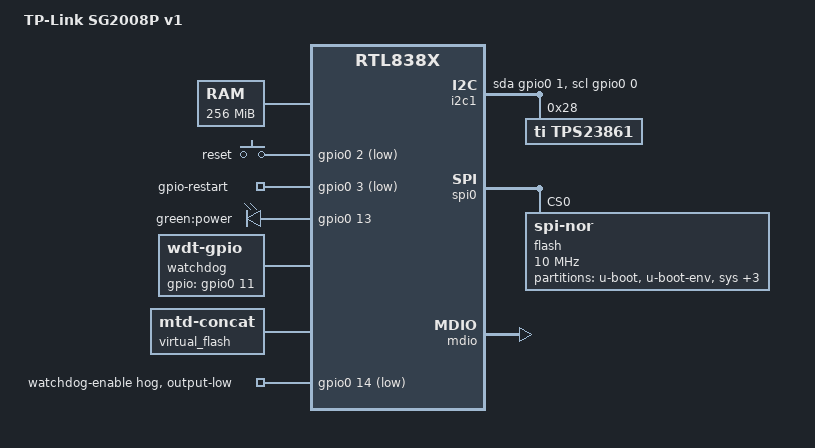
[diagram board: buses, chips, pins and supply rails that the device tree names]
// SPDX-License-Identifier: GPL-2.0-or-later

#include "rtl838x.dtsi"

#include <dt-bindings/input/input.h>
#include <dt-bindings/gpio/gpio.h>

/ {
	compatible = "tplink,sg2008p-v1", "realtek,rtl838x-soc";
	model = "TP-Link SG2008P v1";

	aliases {
		led-boot = &led_power;
		led-failsafe = &led_power;
		led-running = &led_power;
		led-upgrade = &led_power;
	};

	memory@0 {
		device_type = "memory";
		reg = <0x0 0x10000000>;
	};

	keys {
		compatible = "gpio-keys";

		reset {
			label = "reset";
			gpios = <&gpio0 2 GPIO_ACTIVE_LOW>;
			linux,code = <KEY_RESTART>;
		};
	};

	gpio-restart {
		compatible = "gpio-restart";
		gpios = <&gpio0 3 GPIO_ACTIVE_LOW>;
	};

	leds {
		compatible = "gpio-leds";

		led_power: led-0 {
			label = "green:power";
			gpios = <&gpio0 13 GPIO_ACTIVE_HIGH>;
		};
	};

	i2c1: i2c-gpio-1 {
		compatible = "i2c-gpio";
		scl-gpios = <&gpio0 0 (GPIO_ACTIVE_HIGH | GPIO_OPEN_DRAIN)>;
		sda-gpios = <&gpio0 1 (GPIO_ACTIVE_HIGH | GPIO_OPEN_DRAIN)>;
		i2c-gpio,delay-us = <2>;
		#address-cells = <1>;
		#size-cells = <0>;

		tps23861@28 {
			compatible = "ti,tps23861";
			reg = <0x28>;
			shunt-resistor-micro-ohms = <255000>;
		};
	};

	watchdog {
		compatible = "linux,wdt-gpio";
		gpios = <&gpio0 11 GPIO_ACTIVE_HIGH>;
		hw_algo = "toggle";
		/* SGM706 specs: typical 1.6s, but minimum 1.0s. */
		hw_margin_ms = <1000>;
	};

	virtual_flash {
		compatible = "mtd-concat";

		devices = <&syspart &usrpart>;

		partitions {
			compatible = "fixed-partitions";
			#address-cells = <1>;
			#size-cells = <1>;

			partition@0 {
				compatible = "denx,uimage";
				label = "firmware";
				reg = <0x0 0x1a00000>;
			};
		};
	};
};

&gpio0 {
	watchdog-enable {
		gpio-hog;
		gpios = <14 GPIO_ACTIVE_LOW>;
		output-low;
		line-name = "watchdog-enable";
	};
};

&spi0 {
	status = "okay";

	flash@0 {
		compatible = "jedec,spi-nor";
		reg = <0>;
		spi-max-frequency = <10000000>;

		partitions {
			compatible = "fixed-partitions";
			#address-cells = <1>;
			#size-cells = <1>;

			partition@0 {
				label = "u-boot";
				reg = <0x0 0xe0000>;
				read-only;
			};
			partition@e0000 {
				label = "u-boot-env";
				reg = <0xe0000 0x20000>;
			};
			syspart: partition@100000 {
				label = "sys";
				reg = <0x100000 0x600000>;
			};
			usrpart: partition@700000 {
				label = "usrimg1";
				reg = <0x700000 0x1400000>;
			};
			partition@1b00000 {
				label = "usrappfs";
				reg = <0x1b00000 0x400000>;
			};
			partition@1f00000 {
				label = "para";
				reg = <0x1f00000 0x100000>;
				read-only;
			};
		};
	};
};

&ethernet0 {
	mdio: mdio-bus {
		compatible = "realtek,rtl838x-mdio";
		#address-cells = <1>;
		#size-cells = <0>;

		INTERNAL_PHY(8)
		INTERNAL_PHY(9)
		INTERNAL_PHY(10)
		INTERNAL_PHY(11)
		INTERNAL_PHY(12)
		INTERNAL_PHY(13)
		INTERNAL_PHY(14)
		INTERNAL_PHY(15)
	};
};

&switch0 {
	ports {
		#address-cells = <1>;
		#size-cells = <0>;

		SWITCH_PORT(8, 1, internal)
		SWITCH_PORT(9, 2, internal)
		SWITCH_PORT(10, 3, internal)
		SWITCH_PORT(11, 4, internal)
		SWITCH_PORT(12, 5, internal)
		SWITCH_PORT(13, 6, internal)
		SWITCH_PORT(14, 7, internal)
		SWITCH_PORT(15, 8, internal)

		port@28 {
			ethernet = <&ethernet0>;
			reg = <28>;
			phy-mode = "internal";

			fixed-link {
				speed = <1000>;
				full-duplex;
			};
		};
	};
};
